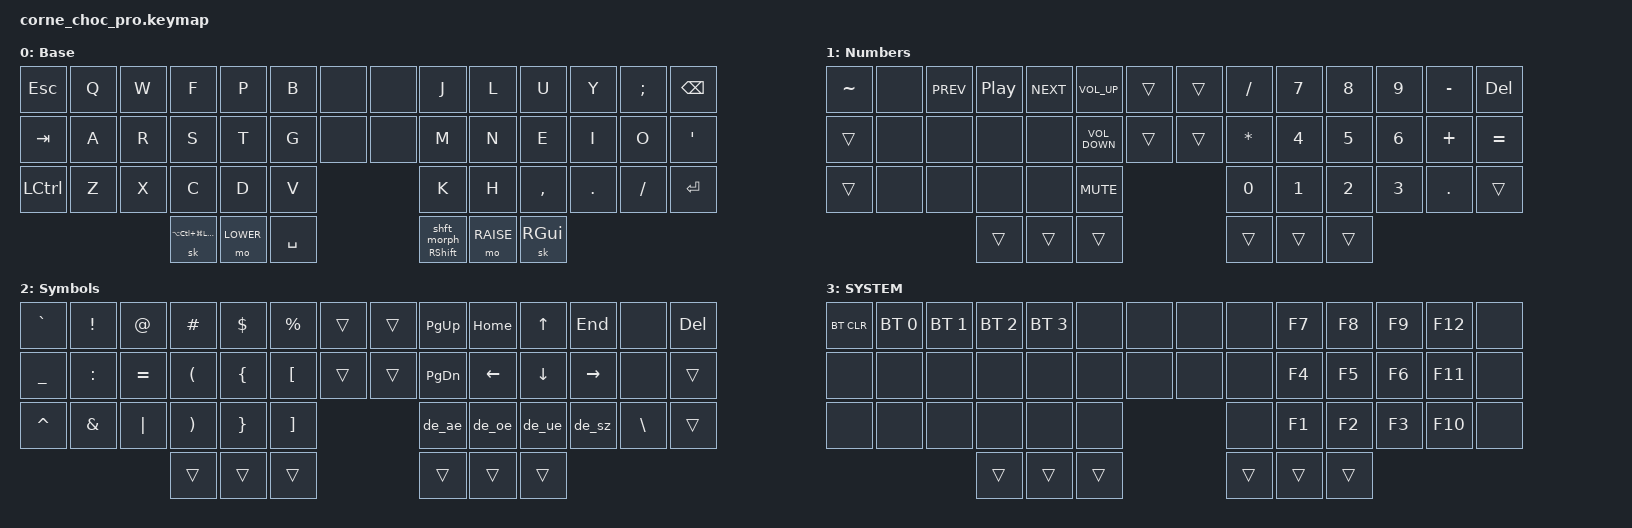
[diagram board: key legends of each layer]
/*
 * Copyright (c) 2020 The ZMK Contributors
 *
 * SPDX-License-Identifier: MIT
 */

#include <behaviors.dtsi>
#include <dt-bindings/zmk/bt.h>
#include <dt-bindings/zmk/keys.h>

#define BASE  0
#define LOWER 1
#define RAISE 2
#define ADJ   3
#define HYPER LG(LC(LA(LSHFT)))

&sk {
    release-after-ms = <900>;
    quick-release;
};

/ {
    conditional_layers {
        compatible = "zmk,conditional-layers";

        tri_layer {
            if-layers = <LOWER RAISE>;
            then-layer = <ADJ>;
        };
    };

    behaviors {
        shft_morph: shift_morph {
            compatible = "zmk,behavior-mod-morph";
            #binding-cells = <0>;
            bindings = <&sk LSHFT>, <&caps_word>;

            mods = <(MOD_LSFT|MOD_RSFT)>;
        };

        smart_shft: smart_shift {
            compatible = "zmk,behavior-hold-tap";
            #binding-cells = <2>;
            flavor = "balanced";
            tapping-term-ms = <200>;
            bindings = <&kp>, <&shft_morph>;
        };
    };

    macros {
        de_ae: de_ae {
            compatible = "zmk,behavior-macro";
            #binding-cells = <0>;
            bindings = <&kp LA(U) &kp A>;
        };

        de_oe: de_oe {
            compatible = "zmk,behavior-macro";
            #binding-cells = <0>;
            bindings = <&kp LA(U) &kp O>;
        };

        de_ue: de_ue {
            compatible = "zmk,behavior-macro";
            #binding-cells = <0>;
            bindings = <&kp LA(U) &kp U>;
        };

        de_sz: de_sz {
            compatible = "zmk,behavior-macro";
            #binding-cells = <0>;
            bindings = <&kp LA(S)>;
        };
    };

    keymap {
        compatible = "zmk,keymap";

        base_layer {
            display-name = "Base";
            bindings = <
&kp ESC    &kp Q  &kp W  &kp F                  &kp P      &kp B      &none  &none  &kp J                &kp L      &kp U          &kp Y    &kp SEMI  &kp BSPC
&kp TAB    &kp A  &kp R  &kp S                  &kp T      &kp G      &none  &none  &kp M                &kp N      &kp E          &kp I    &kp O     &kp SQT
&kp LCTRL  &kp Z  &kp X  &kp C                  &kp D      &kp V                    &kp K                &kp H      &kp COMMA      &kp DOT  &kp FSLH  &kp ENTER
                         &sk LA(LC(LG(LSHFT)))  &mo LOWER  &kp SPACE                &smart_shft RSHFT 0  &mo RAISE  &sk RIGHT_GUI
            >;
        };

        lower_layer {
            display-name = "Numbers";
            bindings = <
&kp TILDE  &none  &kp C_PREV  &kp C_PP  &kp C_NEXT  &kp C_VOLUME_UP    &trans  &trans  &kp FSLH  &kp N7  &kp N8  &kp N9  &kp MINUS  &kp DEL
&trans     &none  &none       &none     &none       &kp C_VOLUME_DOWN  &trans  &trans  &kp STAR  &kp N4  &kp N5  &kp N6  &kp PLUS   &kp EQUAL
&trans     &none  &none       &none     &none       &kp C_MUTE                         &kp N0    &kp N1  &kp N2  &kp N3  &kp DOT    &trans
                              &trans    &trans      &trans                             &trans    &trans  &trans
            >;
        };

        raise_layer {
            display-name = "Symbols";
            bindings = <
&kp GRAVE  &kp EXCL   &kp AT     &kp HASH  &kp DLLR  &kp PERCENT  &trans  &trans  &kp PG_UP  &kp HOME  &kp UP    &kp END    &none     &kp DEL
&kp UNDER  &kp COLON  &kp EQUAL  &kp LPAR  &kp LBRC  &kp LBKT     &trans  &trans  &kp PG_DN  &kp LEFT  &kp DOWN  &kp RIGHT  &none     &trans
&kp CARET  &kp AMPS   &kp PIPE   &kp RPAR  &kp RBRC  &kp RBKT                     &de_ae     &de_oe    &de_ue    &de_sz     &kp BSLH  &trans
                                 &trans    &trans    &trans                       &trans     &trans    &trans
            >;
        };

        adjust_layer {
            display-name = "SYSTEM";
            bindings = <
&bt BT_CLR  &bt BT_SEL 0  &bt BT_SEL 1  &bt BT_SEL 2  &bt BT_SEL 3  &none   &none  &none  &none   &kp F7  &kp F8  &kp F9  &kp F12  &none
&none       &none         &none         &none         &none         &none   &none  &none  &none   &kp F4  &kp F5  &kp F6  &kp F11  &none
&none       &none         &none         &none         &none         &none                 &none   &kp F1  &kp F2  &kp F3  &kp F10  &none
                                        &trans        &trans        &trans                &trans  &trans  &trans
            >;
        };
    };
};
